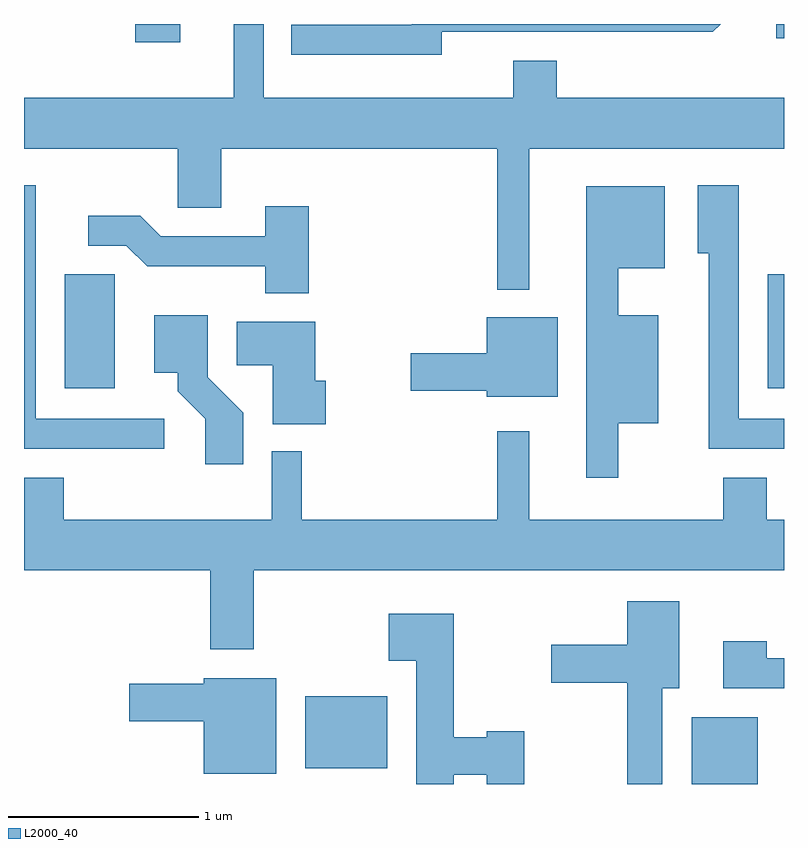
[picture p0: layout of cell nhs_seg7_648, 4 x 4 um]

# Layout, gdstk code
import gdstk
lib = gdstk.Library(unit=1e-6, precision=1e-09)
def R(c, l, rs):  # rectangles x0, y0, x1, y1
    for r in rs: c.add(gdstk.rectangle(r[:2], r[2:], *l))
def P(c, l, *ps):  # polygons
    for p in ps: c.add(gdstk.Polygon(p, *l))
L2000_40 = (2000, 40)

nhs_seg7_648 = lib.new_cell('nhs_seg7_648')
R(nhs_seg7_648, L2000_40, [(207.126,1764.252,207.474,1764.604), (205.091,1764.336,205.524,1764.714), (203.826,1766.336,204.089,1766.934), (207.526,1766.336,207.611,1766.934), (204.196,1768.156,204.434,1768.252), (207.571,1768.178,207.611,1768.252)])
P(nhs_seg7_648, L2000_40, [(206.269,1767.596),(207.611,1767.596),(207.611,1767.864),(206.414,1767.864),(206.414,1768.059),(206.186,1768.059),(206.186,1767.864),(204.874,1767.864),(204.874,1768.252),(204.716,1768.252),(204.716,1767.864),(203.611,1767.864),(203.611,1767.596),(204.421,1767.596),(204.421,1767.286),(204.649,1767.286),(204.649,1767.596),(206.101,1767.596),(206.101,1766.853),(206.269,1766.853)],
  [(205.809,1768.211),(207.237,1768.211),(207.278,1768.252),(205.651,1768.252),(205.651,1768.249),(205.018,1768.249),(205.018,1768.091),(205.809,1768.091)],
  [(207.611,1766.174),(207.374,1766.174),(207.374,1767.404),(207.156,1767.404),(207.156,1767.046),(207.216,1767.046),(207.216,1766.016),(207.611,1766.016)],
  [(204.348,1766.174),(203.674,1766.174),(203.674,1767.404),(203.611,1767.404),(203.611,1766.016),(204.348,1766.016)],
  [(206.739,1766.151),(206.949,1766.151),(206.949,1766.719),(206.739,1766.719),(206.739,1766.966),(206.984,1766.966),(206.984,1767.399),(206.571,1767.399),(206.571,1765.863),(206.739,1765.863)],
  [(205.109,1767.294),(204.881,1767.294),(204.881,1767.134),(204.332,1767.134),(204.222,1767.244),(203.948,1767.244),(203.948,1767.086),(204.149,1767.086),(204.259,1766.976),(204.881,1766.976),(204.881,1766.836),(205.109,1766.836)],
  [(204.764,1766.207),(204.579,1766.392),(204.579,1766.719),(204.296,1766.719),(204.296,1766.416),(204.421,1766.416),(204.421,1766.319),(204.566,1766.174),(204.566,1765.936),(204.764,1765.936)],
  [(206.419,1766.709),(206.046,1766.709),(206.046,1766.519),(205.646,1766.519),(205.646,1766.321),(206.046,1766.321),(206.046,1766.291),(206.419,1766.291)],
  [(205.199,1766.374),(205.144,1766.374),(205.144,1766.684),(204.731,1766.684),(204.731,1766.456),(204.921,1766.456),(204.921,1766.146),(205.199,1766.146)],
  [(204.819,1765.376),(207.611,1765.376),(207.611,1765.644),(207.519,1765.644),(207.519,1765.864),(207.291,1765.864),(207.291,1765.644),(206.269,1765.644),(206.269,1766.108),(206.101,1766.108),(206.101,1765.644),(205.074,1765.644),(205.074,1766.003),(204.916,1766.003),(204.916,1765.644),(203.819,1765.644),(203.819,1765.864),(203.611,1765.864),(203.611,1765.376),(204.591,1765.376),(204.591,1764.961),(204.819,1764.961)],
  [(206.969,1764.756),(207.059,1764.756),(207.059,1765.214),(206.786,1765.214),(206.786,1764.984),(206.386,1764.984),(206.386,1764.786),(206.786,1764.786),(206.786,1764.252),(206.969,1764.252)],
  [(205.874,1764.301),(206.046,1764.301),(206.046,1764.252),(206.244,1764.252),(206.244,1764.529),(206.046,1764.529),(206.046,1764.499),(205.874,1764.499),(205.874,1765.149),(205.531,1765.149),(205.531,1764.901),(205.676,1764.901),(205.676,1764.252),(205.874,1764.252)],
  [(207.611,1764.914),(207.519,1764.914),(207.519,1765.004),(207.291,1765.004),(207.291,1764.756),(207.611,1764.756)],
  [(204.939,1764.809),(204.556,1764.809),(204.556,1764.779),(204.166,1764.779),(204.166,1764.581),(204.556,1764.581),(204.556,1764.306),(204.939,1764.306)])

lib.write_gds('nhs_seg7_648.gds')
